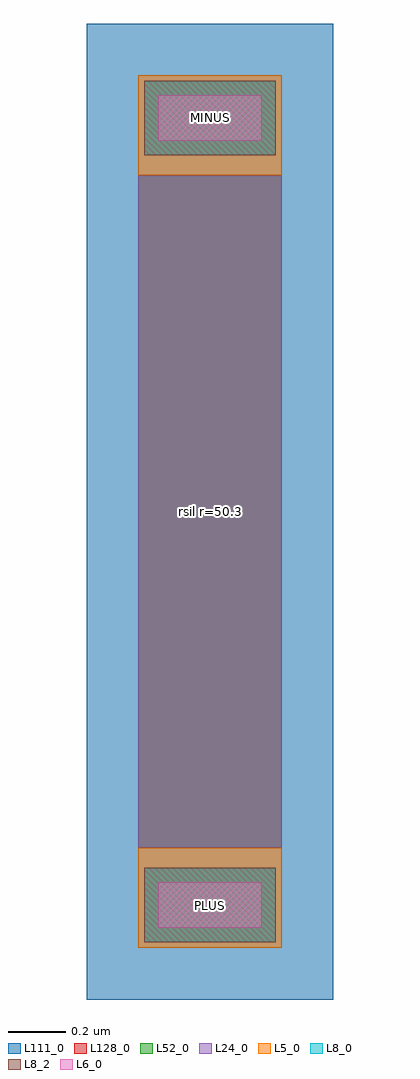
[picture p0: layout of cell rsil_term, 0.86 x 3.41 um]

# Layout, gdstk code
import gdstk
lib = gdstk.Library(unit=1e-6, precision=1e-09)
def R(c, l, rs):  # rectangles x0, y0, x1, y1
    for r in rs: c.add(gdstk.rectangle(r[:2], r[2:], *l))
L5_0 = (5, 0)
L6_0 = (6, 0)
L8_0 = (8, 0)
L8_2 = (8, 2)
L24_0 = (24, 0)
L52_0 = (52, 0)
L111_0 = (111, 0)
L128_0 = (128, 0)

rsil_term = lib.new_cell('rsil_term')
R(rsil_term, L5_0, [(0,-0.35,0.5,0), (0,2.35,0.5,2.7)])
R(rsil_term, L6_0, [(0.07,-0.28,0.43,-0.12), (0.07,2.47,0.43,2.63)])
R(rsil_term, L8_0, [(0.02,-0.33,0.48,-0.07), (0.02,2.42,0.48,2.68)])
R(rsil_term, L8_2, [(0.02,-0.33,0.48,-0.07), (0.02,2.42,0.48,2.68)])
R(rsil_term, L24_0, [(0,0,0.5,2.35)])
R(rsil_term, L52_0, [(0,0,0.5,2.35)])
R(rsil_term, L111_0, [(-0.18,-0.53,0.68,0), (-0.18,0,0.68,2.35), (-0.18,0,0.68,2.88)])
R(rsil_term, L128_0, [(0,0,0.5,2.35)])
rsil_term.add(gdstk.Label('rsil r=50.3', (0.25,1.175), layer=63, texttype=0))
rsil_term.add(gdstk.Label('rsil', (0.25,1.175), layer=52, texttype=0))
rsil_term.add(gdstk.Label('PLUS', (0.25,-0.2), layer=8, texttype=25))
rsil_term.add(gdstk.Label('MINUS', (0.25,2.55), layer=8, texttype=25))

lib.write_gds('rsil_term.gds')
